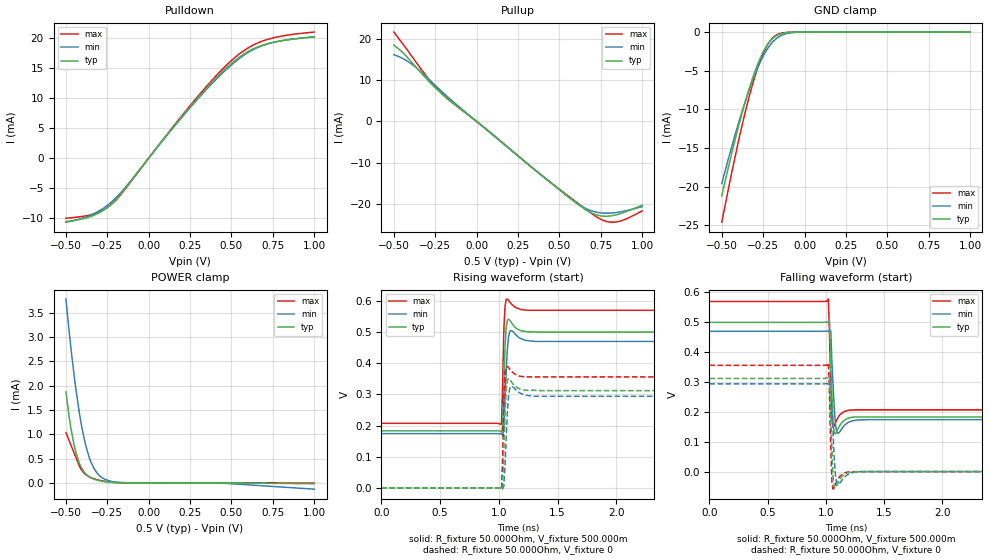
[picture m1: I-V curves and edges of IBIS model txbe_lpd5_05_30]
| [Disclaimer]
| Copyright (c) 2020 Synopsys Inc.All rights reserved
| From a733_lpddr5_allwinner_v0p1.ibs, dwc_ddrphy_txbe, allwinner
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[Model] txbe_lpd5_05_30
Model_type   I/O
Polarity   Non-Inverting
Enable   Active-High
C_comp   1.521pF   1.516pF   1.523pF
C_comp_pullup   283.980fF   278.357fF   289.111fF
C_comp_pulldown   1.177pF   1.173pF   1.178pF
Vinh = 310.000mV
Vinl = 190.000mV
Vmeas = 250.000mV
Vref = 250.000mV
Rref = 50Ohms
Cref = 0pF
[Model Spec]
Vinh   310.000mV   295.000mV   345.000mV
Vinl   190.000mV   175.000mV   225.000mV
Vmeas   250.000mV   235.000mV   285.000mV
Vref   250.000mV   235.000mV   285.000mV
D_overshoot_ampl_h 0.1 NA   NA
D_overshoot_ampl_l 0.1 NA   NA
D_overshoot_area_l 300.000m NA   NA
D_overshoot_area_h 300.000m NA   NA
[Receiver Thresholds]
Vth = 125.000mV
Vth_min = 118.000mV
Vth_max = 143.000mV
Vinh_ac = 60.000mV
Vinh_dc = 60.000mV
Vinl_ac = -60.000mV
Vinl_dc = -60.000mV
Tslew_ac = 5.000ns
Threshold_sensitivity = 0.5
Reference_supply Pullup_ref
[Temperature Range]   25.000   125.000   -40.000
[Voltage Range]   500.000mV   470.000mV   570.000mV
[GND Clamp Reference]   0.00V   0.00V   0.00V
[C Comp Corner]
| variable   typ   min   max
C_comp   1.521pF   1.516pF   1.523pF
C_comp_pullup   283.980fF   278.357fF   289.111fF
C_comp_pulldown   1.177pF   1.173pF   1.178pF
[Pulldown Reference]   0.00V   0.00V   0.00V
[POWER Clamp Reference]   500.000mV   470.000mV   570.000mV
[Pullup Reference]   500.000mV   470.000mV   570.000mV
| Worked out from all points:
|   slope of the pulldown table from 0 to 0.075 V, typ, clamps not added: 28.5 ohm
|   slope of the pullup table from 0 to 0.075 V, typ, clamps not added: 30.5 ohm
|   GND clamp passes 1 mA (typ) near -0.20 V on its own axis
|   POWER clamp passes 1 mA (typ) near -0.46 V on its own axis
|   rising waveform, R_fixture 50.000Ohm, V_fixture 500.000m: 20-80 % time 15.2ps typ, 20.4ps min, 13.9ps max; typ from 0.183 V to 0.5 V
|   rising waveform, R_fixture 50.000Ohm, V_fixture 0: 20-80 % time 16.4ps typ, 20.6ps min, 14.4ps max; typ from 0 V to 0.312 V
|   falling waveform, R_fixture 50.000Ohm, V_fixture 500.000m: 20-80 % time 16.6ps typ, 21.7ps min, 15.4ps max; typ from 0.5 V to 0.183 V
|   falling waveform, R_fixture 50.000Ohm, V_fixture 0: 20-80 % time 16.4ps typ, 21.7ps min, 14.6ps max; typ from 0.312 V to 0 V
[GND Clamp]
-500mV    -21.19mA   -19.61mA   -24.6mA
-450mV    -16.59mA   -15.61mA   -19.24mA
-400mV    -12.31mA   -11.86mA   -14.21mA
-360mV    -9.162mA   -9.095mA   -10.52mA
-330mV    -7.024mA   -7.2mA     -8.001mA
-290mV    -4.538mA   -4.96mA    -5.07mA
-260mV    -3.008mA   -3.535mA   -3.266mA
-230mV    -1.811mA   -2.361mA   -1.867mA
-190mV    -763.4uA   -1.219mA   -686.8uA
-130mV    -137.4uA   -333.9uA   -84.17uA
-50mV     -6.966uA   -28.44uA   -2.488uA
1V        1.073uA    8.225uA    320nA
[Power Clamp]
-500mV    1.872mA    3.782mA    1.035mA
-480mV    1.347mA    3.098mA    864.4uA
-450mV    765.9uA    2.197mA    609.1uA
-420mV    411.7uA    1.464mA    353.8uA
-390mV    221.9uA    911uA      199.1uA
-350mV    105.4uA    437.4uA    109.2uA
-310mV    53.9uA     193.6uA    63.6uA
-280mV    32.32uA    102.1uA    40.75uA
-240mV    14.94uA    42.5uA     19.78uA
-160mV    1.814uA    6.334uA    2.095uA
440mV     -336.4nA   -5.746uA   -49.23nA
1V        -17.55uA   -129.9uA   -3.392uA
[Pulldown]
-500mV    -10.54mA   -10.65mA   -9.99mA
-340mV    -9.605mA   -9.35mA    -9.344mA
-280mV    -8.786mA   -8.448mA   -8.71mA
-220mV    -7.487mA   -7.167mA   -7.567mA
-140mV    -4.984mA   -4.831mA   -5.086mA
110mV     3.841mA    3.779mA    3.924mA
290mV     9.789mA    9.631mA    10.04mA
430mV     13.94mA    13.71mA    14.36mA
550mV     16.84mA    16.62mA    17.38mA
630mV     18.16mA    18.03mA    18.78mA
710mV     18.97mA    18.93mA    19.69mA
1V        20.15mA    20.19mA    20.97mA
[Pullup]
-500mV    18.46mA    16.17mA    21.66mA
-450mV    16.83mA    15.34mA    18.98mA
-380mV    13.8mA     13.52mA    15.15mA
-280mV    9.362mA    9.879mA    9.819mA
-190mV    6.01mA     6.499mA    5.978mA
520mV     -17.18mA   -17.21mA   -17.04mA
610mV     -20.01mA   -19.94mA   -19.79mA
660mV     -21.44mA   -21.12mA   -21.3mA
730mV     -22.74mA   -22.06mA   -23.28mA
810mV     -22.93mA   -22.23mA   -24.44mA
890mV     -22.08mA   -21.78mA   -23.88mA
1V        -20.35mA   -20.7mA    -21.73mA
[Ramp]
R_load=50.000Ohm
dV/dt_r   188.692mV/16.000ps  176.938mV/20.500ps  215.698mV/13.000ps
dV/dt_f   188.692mV/17.000ps  176.938mV/22.000ps  215.698mV/14.000ps
[Rising waveform]
R_fixture=50.000Ohm
V_fixture=500.000m
V_fixture_min=470.000m
V_fixture_max=570.000m
0s        183mV      174mV      207mV
1.023ns   179mV      173mV      203mV
1.033ns   197mV      169mV      346mV
1.043ns   340mV      188mV      509mV
1.053ns   452mV      287mV      583mV
1.063ns   515mV      376mV      605mV
1.073ns   538mV      446mV      606mV
1.103ns   533mV      505mV      592mV
1.303ns   501mV      470mV      570mV
10ns      500mV      470mV      570mV
[Rising waveform]
R_fixture=50.000Ohm
V_fixture=0
0s        26.82uV    205.3uV    5.261uV
1.023ns   -4.319mV   -1.225mV   -4.009mV
1.033ns   7.533mV    -4.183mV   107mV
1.043ns   119mV      6.118mV    274mV
1.053ns   239mV      69.3mV     364mV
1.063ns   318mV      156mV      388mV
1.073ns   345mV      244mV      390mV
1.103ns   343mV      326mV      376mV
1.303ns   313mV      294mV      356mV
10ns      312mV      294mV      356mV
[Falling waveform]
R_fixture=50.000Ohm
V_fixture=500.000m
V_fixture_min=470.000m
V_fixture_max=570.000m
0s        500mV      470mV      570mV
1.023ns   503mV      470mV      578mV
1.033ns   504mV      474mV      441mV
1.043ns   353mV      473mV      295mV
1.053ns   256mV      366mV      178mV
1.063ns   165mV      287mV      150mV
1.083ns   126mV      160mV      163mV
1.103ns   142mV      128mV      179mV
1.343ns   183mV      174mV      207mV
10ns      183mV      174mV      207mV
[Falling waveform]
R_fixture=50.000Ohm
V_fixture=0
0s        312mV      294mV      356mV
1.023ns   316mV      294mV      364mV
1.033ns   316mV      298mV      243mV
1.043ns   185mV      298mV      84.43mV
1.053ns   75.75mV    208mV      -32.73mV
1.063ns   -17.8mV    131mV      -58.86mV
1.083ns   -56.16mV   -9.706mV   -43.86mV
1.103ns   -40.1mV    -43.84mV   -26.25mV
1.333ns   -100.5uV   36.85uV    -80.85uV
10ns      27.72uV    205.5uV    6.101uV
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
